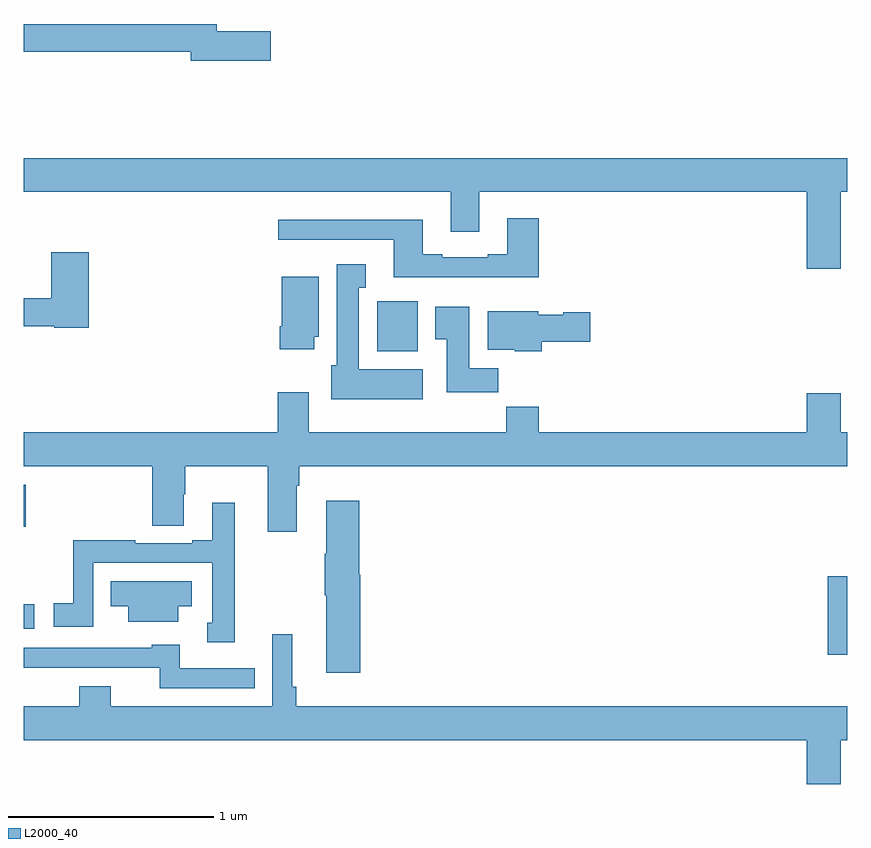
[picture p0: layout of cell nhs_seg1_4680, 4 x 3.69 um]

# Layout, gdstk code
import gdstk
lib = gdstk.Library(unit=1e-6, precision=1e-09)
def R(c, l, rs):  # rectangles x0, y0, x1, y1
    for r in rs: c.add(gdstk.rectangle(r[:2], r[2:], *l))
def P(c, l, *ps):  # polygons
    for p in ps: c.add(gdstk.Polygon(p, *l))
L2000_40 = (2000, 40)

nhs_seg1_4680 = lib.new_cell('nhs_seg1_4680')
R(nhs_seg1_4680, L2000_40, [(368.906,538.827,369,539.208), (365,538.953,365.05,539.073), (365,539.449,365.009,539.652), (366.716,540.302,366.913,540.544)])
P(nhs_seg1_4680, L2000_40, [(366.199,541.856),(365.938,541.856),(365.938,541.892),(365,541.892),(365,541.756),(365.81,541.756),(365.81,541.714),(366.199,541.714)],
  [(368.968,541.076),(369,541.076),(369,541.24),(365,541.24),(365,541.076),(367.073,541.076),(367.073,540.882),(367.213,540.882),(367.213,541.076),(368.804,541.076),(368.804,540.702),(368.968,540.702)],
  [(367.502,540.949),(367.349,540.949),(367.349,540.772),(367.253,540.772),(367.253,540.759),(367.033,540.759),(367.033,540.772),(366.937,540.772),(366.937,540.94),(366.237,540.94),(366.237,540.843),(366.797,540.843),(366.797,540.662),(367.502,540.662)],
  [(365.315,540.784),(365.132,540.784),(365.132,540.56),(365,540.56),(365,540.424),(365.148,540.424),(365.148,540.416),(365.315,540.416)],
  [(366.937,540.214),(366.628,540.214),(366.628,540.611),(366.661,540.611),(366.661,540.724),(366.521,540.724),(366.521,540.234),(366.494,540.234),(366.494,540.068),(366.937,540.068)],
  [(366.412,540.372),(366.433,540.372),(366.433,540.664),(366.254,540.664),(366.254,540.424),(366.242,540.424),(366.242,540.312),(366.412,540.312)],
  [(367.304,540.22),(367.165,540.22),(367.165,540.517),(366.998,540.517),(366.998,540.361),(367.055,540.361),(367.055,540.102),(367.304,540.102)],
  [(367.517,540.349),(367.753,540.349),(367.753,540.491),(367.62,540.491),(367.62,540.478),(367.5,540.478),(367.5,540.496),(367.253,540.496),(367.253,540.308),(367.386,540.308),(367.386,540.302),(367.517,540.302)],
  [(366.325,539.648),(366.338,539.648),(366.338,539.744),(369,539.744),(369,539.908),(368.968,539.908),(368.968,540.097),(368.804,540.097),(368.804,539.908),(367.502,539.908),(367.502,540.032),(367.345,540.032),(367.345,539.908),(366.385,539.908),(366.385,540.103),(366.233,540.103),(366.233,539.908),(365,539.908),(365,539.744),(365.624,539.744),(365.624,539.455),(365.776,539.455),(365.776,539.606),(365.784,539.606),(365.784,539.744),(366.185,539.744),(366.185,539.424),(366.325,539.424)],
  [(366.634,539.217),(366.629,539.217),(366.629,539.575),(366.47,539.575),(366.47,539.317),(366.463,539.317),(366.463,539.117),(366.47,539.117),(366.47,538.74),(366.634,538.74)],
  [(366.025,539.566),(365.915,539.566),(365.915,539.383),(365.819,539.383),(365.819,539.37),(365.54,539.37),(365.54,539.383),(365.239,539.383),(365.239,539.078),(365.145,539.078),(365.145,538.962),(365.337,538.962),(365.337,539.274),(365.916,539.274),(365.916,538.983),(365.891,538.983),(365.891,538.889),(366.025,538.889)],
  [(365.749,539.063),(365.815,539.063),(365.815,539.185),(365.422,539.185),(365.422,539.063),(365.507,539.063),(365.507,538.988),(365.749,538.988)],
  [(368.968,538.412),(369,538.412),(369,538.576),(366.323,538.576),(366.323,538.672),(366.304,538.672),(366.304,538.927),(366.207,538.927),(366.207,538.576),(365.422,538.576),(365.422,538.675),(365.27,538.675),(365.27,538.576),(365,538.576),(365,538.412),(368.804,538.412),(368.804,538.199),(368.968,538.199)],
  [(366.122,538.761),(365.758,538.761),(365.758,538.876),(365.622,538.876),(365.622,538.86),(365,538.86),(365,538.763),(365.186,538.763),(365.186,538.764),(365.659,538.764),(365.659,538.665),(366.122,538.665)])

lib.write_gds('nhs_seg1_4680.gds')
